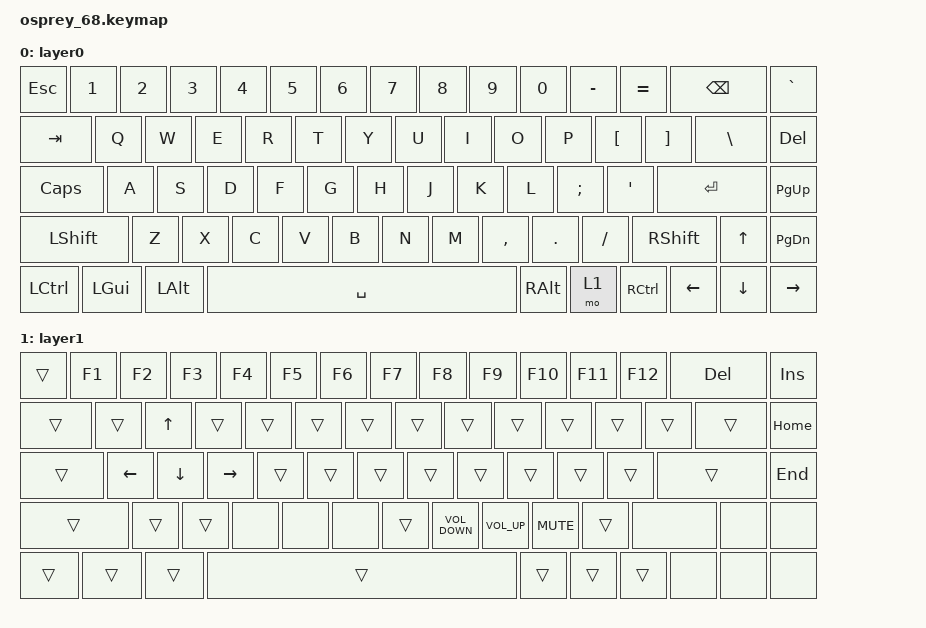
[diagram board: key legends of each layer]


  /*
  * Copyright (c) 2020 The ZMK Contributors
  *
  * SPDX-License-Identifier: MIT
  */

  #include <behaviors.dtsi>
  #include <dt-bindings/zmk/keys.h>
  #include <dt-bindings/zmk/bt.h>
  #include <dt-bindings/zmk/ext_power.h>

  / {
    keymap {
      compatible = "zmk,keymap";
  layer0 {
          bindings = <
          &kp ESCAPE &kp N1 &kp N2 &kp N3 &kp N4 &kp N5 &kp N6 &kp N7 &kp N8 &kp N9 &kp N0 &kp MINUS &kp EQUAL &kp BACKSPACE &kp GRAVE &kp TAB &kp Q &kp W &kp E &kp R &kp T &kp Y &kp U &kp I &kp O &kp P &kp LEFT_BRACKET &kp RIGHT_BRACKET &kp BACKSLASH &kp DELETE &kp CAPSLOCK &kp A &kp S &kp D &kp F &kp G &kp H &kp J &kp K &kp L &kp SEMICOLON &kp SINGLE_QUOTE &kp ENTER &kp PAGE_UP &kp LEFT_SHIFT &kp Z &kp X &kp C &kp V &kp B &kp N &kp M &kp COMMA &kp DOT &kp SLASH &kp RIGHT_SHIFT &kp UP &kp PAGE_DOWN &kp LEFT_CONTROL &kp LEFT_GUI &kp LEFT_ALT &kp SPACE &kp RIGHT_ALT &mo 1 &kp RIGHT_CONTROL &kp LEFT &kp DOWN &kp RIGHT
          >;
        };layer1 {
          bindings = <
          &trans &kp F1 &kp F2 &kp F3 &kp F4 &kp F5 &kp F6 &kp F7 &kp F8 &kp F9 &kp F10 &kp F11 &kp F12 &kp DELETE &kp INSERT &trans &trans &kp UP &trans &trans &trans &trans &trans &trans &trans &trans &trans &trans &trans &kp HOME &trans &kp LEFT &kp DOWN &kp RIGHT &trans &trans &trans &trans &trans &trans &trans &trans &trans &kp END &trans &trans &trans &none &none &none &trans &kp C_VOLUME_DOWN &kp C_VOLUME_UP &kp C_MUTE &trans &none &none &none &trans &trans &trans &trans &trans &trans &trans &none &none &none
          >;
        };
    };
  };
  
